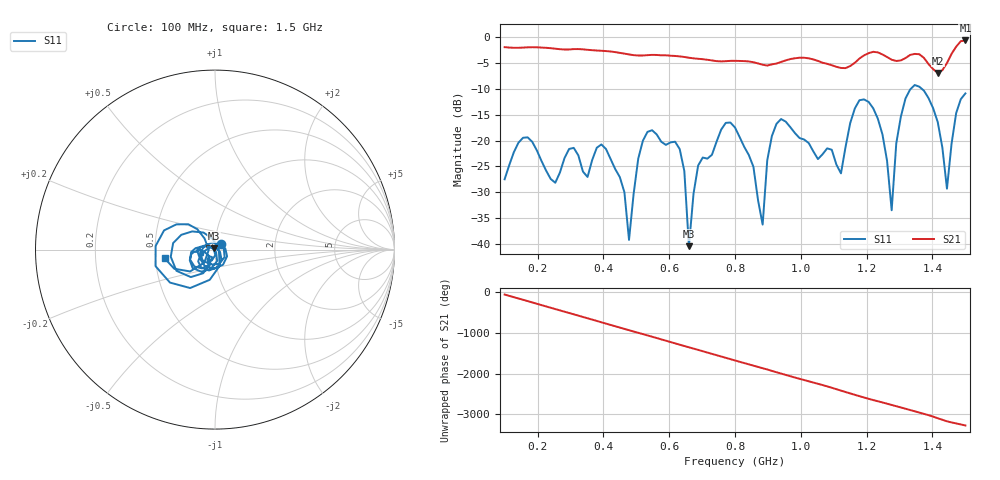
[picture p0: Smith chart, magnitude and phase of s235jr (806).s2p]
! NanoVNA-App
! Date: 2025-09-25 15:10:26
! Start: 100MHz Stop: 1,5GHz Points: 101
! S-Parameter data: F S11 S21 S12 S22
# Hz S RI R 50
!  Frequency  S11_Real  S11_Imag  S21_Real  S21_Imag  S12_Real  S12_Imag  S22_Real  S22_Imag
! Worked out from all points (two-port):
!   101 points, 100 MHz to 1.5 GHz, reference 50 ohm
!   highest |S21| = -0.67 dB at 1.5 GHz (marker M1); lowest = -6.9 dB at 1.416 GHz (marker M2)
!   |S21| within 3 dB of the highest: start of sweep to 619.2 MHz; 1.189 GHz to 1.256 GHz (67.07 MHz wide, 5.49 % of centre) (the widest 2 of 4)
!   lowest |S11| = -40.4 dB at 660 MHz (marker M3), VSWR 1.02, Z = 49.3 + j0.628 ohm
!   |S11| at or under -10 dB: start of sweep to 1.334 GHz; 1.367 GHz to end of sweep
!   S12 and S22 are empty: the file has one direction only
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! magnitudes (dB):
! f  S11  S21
! 100 MHz  -27.5  -2.0
! 156 MHz  -19.5  -2.0
! 338 MHz  -26.0  -2.4
! 408 MHz  -21.6  -2.7
! 478 MHz  -39.2  -3.4
! 520 MHz  -20.0  -3.6
! 576 MHz  -20.2  -3.5
! 632 MHz  -21.6  -3.7
! 660 MHz  -40.4  -4.0
! 688 MHz  -24.8  -4.2
! 800 MHz  -17.5  -4.6
! 884 MHz  -36.2  -5.4
! 926 MHz  -16.8  -5.1
! 1.038 GHz  -22.1  -4.3
! 1.122 GHz  -26.3  -6.0
! 1.206 GHz  -12.5  -3.1
! 1.276 GHz  -33.4  -4.4
! 1.29 GHz  -20.5  -4.6
! 1.332 GHz  -10.1  -3.5
! 1.416 GHz  -16.4  -6.9
! 1.444 GHz  -29.3  -5.0
! 1.5 GHz  -10.9  -0.7
